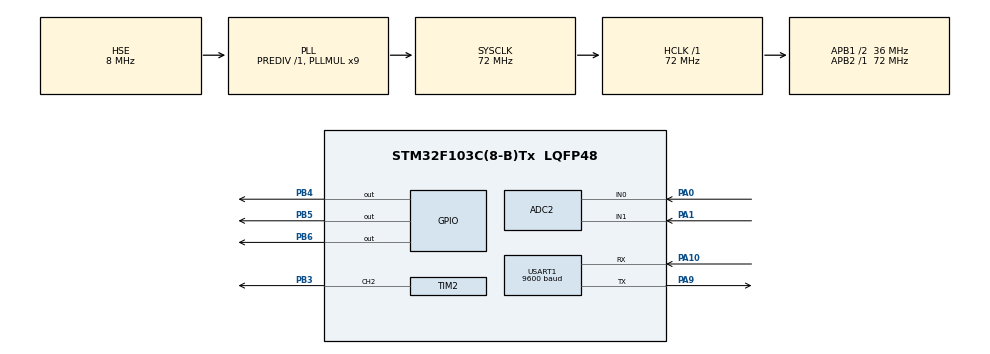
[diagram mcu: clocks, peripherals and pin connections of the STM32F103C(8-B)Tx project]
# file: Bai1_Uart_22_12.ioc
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ADC1.Channel-2\#ChannelRegularConversion=ADC_CHANNEL_VREFINT
ADC1.NbrOfConversionFlag=1
ADC1.Rank-2\#ChannelRegularConversion=1
ADC1.SamplingTime-2\#ChannelRegularConversion=ADC_SAMPLETIME_1CYCLE_5
ADC1.master=1
ADC2.Channel-0\#ChannelRegularConversion=ADC_CHANNEL_0
ADC2.Channel-1\#ChannelRegularConversion=ADC_CHANNEL_1
ADC2.ContinuousConvMode=ENABLE
ADC2.NbrOfConversion=2
ADC2.NbrOfConversionFlag=1
ADC2.Rank-0\#ChannelRegularConversion=1
ADC2.Rank-1\#ChannelRegularConversion=2
ADC2.SamplingTime-0\#ChannelRegularConversion=ADC_SAMPLETIME_239CYCLES_5
ADC2.SamplingTime-1\#ChannelRegularConversion=ADC_SAMPLETIME_239CYCLES_5
FREERTOS.Tasks01=Task1_TranVol,0,128,Voltage,Default,NULL,Dynamic,NULL,NULL;Task2_UART,-3,128,Tranfer_Receive,Default,NULL,Dynamic,NULL,NULL;Task3_Pluse,-3,128,Pluse100,Default,NULL,Dynamic,NULL,NULL
Mcu.Family=STM32F1
Mcu.Name=STM32F103C(8-B)Tx
Mcu.Package=LQFP48
NVIC.PriorityGroup=NVIC_PRIORITYGROUP_4
NVIC.TIM4_IRQn=true\:0\:0\:false\:false\:true\:false\:false\:true\:true
NVIC.TimeBase=TIM4_IRQn
NVIC.TimeBaseIP=TIM4
NVIC.USART1_IRQn=true\:5\:0\:true\:false\:true\:true\:true\:true\:true
PA0-WKUP.Signal=ADCx_IN0
PA1.Signal=ADCx_IN1
PA10.Mode=Asynchronous
PA10.Signal=USART1_RX
PA13.Mode=Serial_Wire
PA13.Signal=SYS_JTMS-SWDIO
PA14.Mode=Serial_Wire
PA14.Signal=SYS_JTCK-SWCLK
PA9.Mode=Asynchronous
PA9.Signal=USART1_TX
PB3.Signal=S_TIM2_CH2
PB4.Signal=GPIO_Output
PB5.Signal=GPIO_Output
PB6.Signal=GPIO_Output
PD0-OSC_IN.Mode=HSE-External-Oscillator
PD0-OSC_IN.Signal=RCC_OSC_IN
PD1-OSC_OUT.Mode=HSE-External-Oscillator
PD1-OSC_OUT.Signal=RCC_OSC_OUT
ProjectManager.HeapSize=0x200
ProjectManager.StackSize=0x400
ProjectManager.TargetToolchain=MDK-ARM V5.27
RCC.ADCPresc=RCC_ADCPCLK2_DIV6
RCC.AHBFreq_Value=72000000
RCC.APB1CLKDivider=RCC_HCLK_DIV2
RCC.APB1Freq_Value=36000000
RCC.APB1TimFreq_Value=72000000
RCC.APB2Freq_Value=72000000
RCC.APB2TimFreq_Value=72000000
RCC.HCLKFreq_Value=72000000
RCC.PLLMUL=RCC_PLL_MUL9
RCC.PLLSourceVirtual=RCC_PLLSOURCE_HSE
RCC.SYSCLKFreq_VALUE=72000000
RCC.SYSCLKSource=RCC_SYSCLKSOURCE_PLLCLK
RCC.USBFreq_Value=72000000
SH.ADCx_IN0.0=ADC2_IN0,IN0
SH.ADCx_IN1.0=ADC2_IN1,IN1
SH.S_TIM2_CH2.0=TIM2_CH2,PWM Generation2 CH2
TIM2.Channel-PWM\ Generation2\ CH2=TIM_CHANNEL_2
TIM2.OCMode_PWM-PWM\ Generation2\ CH2=TIM_OCMODE_PWM2
TIM2.OCPolarity_2=TIM_OCPOLARITY_HIGH
TIM2.Period=9999
TIM2.Prescaler=71
TIM3.Prescaler=71
USART1.BaudRate=9600
USART1.VirtualMode=VM_ASYNC
VP_ADC1_Vref_Input.Mode=IN-Vrefint
VP_FREERTOS_VS_CMSIS_V1.Mode=CMSIS_V1
VP_SYS_VS_tim4.Mode=TIM4
VP_TIM2_VS_ClockSourceINT.Mode=Internal
VP_TIM3_VS_ClockSourceINT.Mode=Internal
board=custom

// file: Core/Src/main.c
/* USER CODE BEGIN Header */
/**
  ******************************************************************************
  * @file           : main.c
  * @brief          : Main program body
  ******************************************************************************
  * @attention
  *
  * <h2><center>&copy; Copyright (c) 2022 STMicroelectronics.
  * All rights reserved.</center></h2>
  *
  * This software component is licensed by ST under BSD 3-Clause license,
  * the "License"; You may not use this file except in compliance with the
  * License. You may obtain a copy of the License at:
  *                        opensource.org/licenses/BSD-3-Clause
  *
  ******************************************************************************
  */
/* USER CODE END Header */
#include "main.h"
#include "cmsis_os.h"

/* USER CODE BEGIN Includes */
#include <stdio.h>
#include <stdlib.h>
#include <string.h>
#include "cJSON.h"

#include <delay_timer.h>
/* USER CODE END Includes */

/* USER CODE BEGIN PTD */
#define MAX 100
/* USER CODE END PTD */

ADC_HandleTypeDef hadc1;
ADC_HandleTypeDef hadc2;

TIM_HandleTypeDef htim2;
TIM_HandleTypeDef htim3;

UART_HandleTypeDef huart1;

osThreadId Task1_TranVolHandle;
osThreadId Task2_UARTHandle;
osThreadId Task3_PluseHandle;
/* USER CODE BEGIN PV */

/*************************KHAI BAO.Task1: Dieu khien dong co bang Relay****************************************/
typedef struct UART
{
	uint8_t Rx_data;
	uint8_t Rx_Buff[MAX];
	uint8_t Tx_Buff[MAX];
	uint16_t Flag;
	uint16_t index;
} UART;

UART uart1;
/*************************KHAI BAO.Task2: Doc gia tri ADC****************************************/
uint8_t V1_buff[MAX], V2_buff[MAX], Vref_buff[MAX];
float V[3];
float V1, V2, VDDA;

uint8_t PA0[MAX], PA1[MAX], Vref[MAX];
/*************************KHAI BAO.Test RTOS****************************************/
uint32_t cnt1 = 0, cnt2 = 0, cnt3 = 0;
/*****************************************************************************/

/*************************Khai bao ham****************************************/

void Pluse();
void uart_json();

/*****************************************************************************************************/
/* USER CODE END PV */

void SystemClock_Config(void);
static void MX_GPIO_Init(void);
static void MX_USART1_UART_Init(void);
static void MX_ADC1_Init(void);
static void MX_TIM2_Init(void);
static void MX_TIM3_Init(void);
static void MX_ADC2_Init(void);
void Voltage(void const * argument);
void Tranfer_Receive(void const * argument);
void Pluse100(void const * argument);

/* USER CODE BEGIN PFP */
/************************Printf UART******************************************/
#ifdef __GNUC__
#define PUTCHAR_PROTOTYPE int __io_putchar(int ch)
#else
#define PUTCHAR_PROTOTYPE int fputc(int ch, FILE *f)
#endif /* __GNUC__ */

/**
  * @brief  Retargets the C library printf function to the USART.
  * @param  None
  * @retval None
  */
PUTCHAR_PROTOTYPE
{
  HAL_UART_Transmit(&huart1, (uint8_t *)&ch, 1, HAL_MAX_DELAY);
  return ch;
}
/* USER CODE END PFP */

/* USER CODE BEGIN 0 */
/************************UART. NGAT NHAN******************************************/

void HAL_UART_RxCpltCallback(UART_HandleTypeDef *huart)
{
  if(huart->Instance == huart1.Instance)
	{
		if(uart1.Rx_data == '\n')
		{
			uart1.Flag = 1;
		}
		else
	  {
		  uart1.Rx_Buff[uart1.index++] = uart1.Rx_data;
	  }

		HAL_UART_Receive_IT(&huart1, &uart1.Rx_data, 1);
	}

}

void Trans_UART()
{
	if(uart1.Flag == 1)
 {
		if(strcmp((char *) uart1.Rx_Buff, "1") == 0)
		{
			printf("Relay 1 dong.\n");
			HAL_GPIO_WritePin(GPIOB, GPIO_PIN_4, GPIO_PIN_SET);
		}

		if(strcmp((char *) uart1.Rx_Buff, "2") == 0)
		{
			printf("Relay 2 dong.\n");
			HAL_GPIO_WritePin(GPIOB, GPIO_PIN_5, GPIO_PIN_SET);
		}

		if(strcmp((char *) uart1.Rx_Buff, "3") == 0)
		{
			printf("Relay 3 dong.\n");
			HAL_GPIO_WritePin(GPIOB, GPIO_PIN_6, GPIO_PIN_SET);
		}

		if(strcmp((char *) uart1.Rx_Buff, "a") == 0)
		{
			printf("Relay 1 cat.\n");
			HAL_GPIO_WritePin(GPIOB, GPIO_PIN_4, GPIO_PIN_RESET);
		}

		if(strcmp((char *) uart1.Rx_Buff, "b") == 0)
		{
			printf("Relay 2 cat.\n");
			HAL_GPIO_WritePin(GPIOB, GPIO_PIN_5, GPIO_PIN_RESET);
		}

		if(strcmp((char *) uart1.Rx_Buff, "c") == 0)
		{
			printf("Relay 3 cat.\n");
			HAL_GPIO_WritePin(GPIOB, GPIO_PIN_6, GPIO_PIN_RESET);
		}

		if(strcmp((char *) uart1.Rx_Buff, "0") == 0)
		{
			printf("Relay 3 cat.\n");
			HAL_GPIO_WritePin(GPIOB, GPIO_PIN_4, GPIO_PIN_RESET);
		  HAL_GPIO_WritePin(GPIOB, GPIO_PIN_5, GPIO_PIN_RESET);
		  HAL_GPIO_WritePin(GPIOB, GPIO_PIN_6, GPIO_PIN_RESET);
		}

		if(strcmp((char *) uart1.Rx_Buff, "DA") == 0)
		{
			printf("Gia tri dien ap la: \n");
			uart_json();
		}

		if(strcmp((char *) uart1.Rx_Buff, "p") == 0)
		{
			printf("Start\n");
		  Pluse();
		  printf("End\n");
		}

		memset(uart1.Rx_Buff, '\0', 100);
		uart1.index = 0;
		uart1.Flag = 0;
	}

}
/*************************ADC. CH0 AND CH1****************************************/
/**************ADC. SETUP CH0 AND CH1*****************************/
void ADC_Select_CH0 (void)
{
 ADC_ChannelConfTypeDef sConfig = {0};
 sConfig.Channel = ADC_CHANNEL_0;
 sConfig.Rank = ADC_REGULAR_RANK_1;
 sConfig.SamplingTime = ADC_SAMPLETIME_239CYCLES_5;
 if (HAL_ADC_ConfigChannel(&hadc2, &sConfig) != HAL_OK)
 {
   Error_Handler();
 }
}

void ADC_Select_CH1 (void)
{
 ADC_ChannelConfTypeDef sConfig = {0};
 sConfig.Channel = ADC_CHANNEL_1;
 sConfig.Rank = ADC_REGULAR_RANK_1;
 sConfig.SamplingTime = ADC_SAMPLETIME_239CYCLES_5;
 if (HAL_ADC_ConfigChannel(&hadc2, &sConfig) != HAL_OK)
 {
   Error_Handler();
 }
}
/**************ADC. READ VREF, CH0 AND CH1*****************************/
void ReadVol_Vref()
{
	HAL_ADC_Start(&hadc1);
	HAL_ADC_PollForConversion(&hadc1, 300);
	V[0] = HAL_ADC_GetValue(&hadc1);
  VDDA = 4095.0 * 1.212 / (float)V[0];
	HAL_ADC_Stop(&hadc1);

//	snprintf((char *) Vref_buff, 99, "Gia tri dien ap tai chan Vref: %.2f\n", VDDA);
	snprintf((char *) Vref_buff, 99, "%.2f", VDDA);
}

void ReadVol_PA0()
{
	ADC_Select_CH0();
	HAL_ADC_Start(&hadc2);
	HAL_ADC_PollForConversion(&hadc2, 300);
	V[1] = HAL_ADC_GetValue(&hadc2);
	HAL_ADC_Stop(&hadc2);
  V1 = V[1]*VDDA/4095;
	V1 = V1 *5/3.3;

//	snprintf((char *) V1_buff, 99, "Gia tri dien ap tai chan PA0(2.5 - 5V) la: %.2f\n", V1);
	snprintf((char *) V1_buff, 99, "%.2f", V1);

}

void ReadVol_PA1()
{
	ADC_Select_CH1();
	HAL_ADC_Start(&hadc2);
	HAL_ADC_PollForConversion(&hadc2, 300);
	V[2] = HAL_ADC_GetValue(&hadc2);
  V2 = V[2]*VDDA/4095;
	HAL_ADC_Stop(&hadc2);

	snprintf((char *) V2_buff, 99, "%.2f", V2);
}
/**************ADC. TRANSMIT CH0 AND CH1*****************************/
void TranVol_Vref()
{
	ReadVol_Vref();
	strcpy((char *)Vref,(char *)Vref_buff);
}

void TranVol_PA0()
{
	ReadVol_PA0();
	if(V1 < 3.0)
	{
		strcpy((char *)PA0, "Chan PA0 tha noi.");
	}
	else
	{
//	  HAL_UART_Transmit(&huart1, V1_buff, sizeof(V1_buff), 300);
		strcpy((char *)PA0,(char *)V1_buff);
	}
}

void TranVol_PA1()
{
	ReadVol_PA1();
	if(V2 < 2.5)
	{
		strcpy((char *)PA1, "Chan PA1 tha noi.");
	}
	else
	{
//	  HAL_UART_Transmit(&huart1, V2_buff, sizeof(V2_buff), 300);
		strcpy((char *)PA1,(char *)V2_buff);
	}
}
/**************ADC. UART_JSON*****************************/
void uart_json()
{
	TranVol_Vref();
	TranVol_PA0();
	TranVol_PA1();
	char *out;
	cJSON *root;
	root  = cJSON_CreateObject();

//	cJSON_AddItemToObject(root, "Vref", cJSON_CreateString((char *) Vref));
  cJSON_AddItemToObject(root, "PA0", cJSON_CreateString((char *) PA0));
  cJSON_AddItemToObject(root, "PA1", cJSON_CreateString((char *) PA1));

  out = cJSON_Print(root);
  printf("%s\n",out);

	free(out);
	cJSON_Delete(root);
}
/*************************PWM. 100 PLUSE****************************************/

void Pluse()
{
	 __HAL_TIM_SetCompare(&htim2, TIM_CHANNEL_2, 5000);
	Delayms(1000);

	 __HAL_TIM_SetCompare(&htim2, TIM_CHANNEL_2, 0);
}

/* USER CODE END 0 */

int main(void)
{

  /* MCU Configuration--------------------------------------------------------*/

  /* Reset of all peripherals, Initializes the Flash interface and the Systick. */
  HAL_Init();

  /* Configure the system clock */
  SystemClock_Config();

  /* Initialize all configured peripherals */
  MX_GPIO_Init();
  MX_USART1_UART_Init();
  MX_ADC1_Init();
  MX_TIM2_Init();
  MX_TIM3_Init();
  MX_ADC2_Init();
  /* USER CODE BEGIN 2 */
	strcpy((char *) uart1.Tx_Buff, "Bat dau!\n");
  HAL_UART_Transmit(&huart1, uart1.Tx_Buff, sizeof(uart1.Tx_Buff), 300);

	printf("Task1. Bat tat Relay!\n");
	printf("Task2. Doc gia tri dien ap ADC!\n");
	printf("Task3. Xuat ra 100 xung PWM!\n");

  HAL_UART_Receive_IT(&huart1, &uart1.Rx_data, 1);
	HAL_TIM_PWM_Start(&htim2,TIM_CHANNEL_1);

  /* USER CODE END 2 */

  /* Create the thread(s) */
  /* definition and creation of Task1_TranVol */
  osThreadDef(Task1_TranVol, Voltage, osPriorityNormal, 0, 128);
  Task1_TranVolHandle = osThreadCreate(osThread(Task1_TranVol), NULL);

  /* definition and creation of Task2_UART */
  osThreadDef(Task2_UART, Tranfer_Receive, osPriorityIdle, 0, 128);
  Task2_UARTHandle = osThreadCreate(osThread(Task2_UART), NULL);

  /* definition and creation of Task3_Pluse */
  osThreadDef(Task3_Pluse, Pluse100, osPriorityIdle, 0, 128);
  Task3_PluseHandle = osThreadCreate(osThread(Task3_Pluse), NULL);

  /* Start scheduler */
  osKernelStart();

  /* We should never get here as control is now taken by the scheduler */
  /* Infinite loop */
  while (1)
  {

  }
}

void SystemClock_Config(void)
{
  RCC_OscInitTypeDef RCC_OscInitStruct = {0};
  RCC_ClkInitTypeDef RCC_ClkInitStruct = {0};
  RCC_PeriphCLKInitTypeDef PeriphClkInit = {0};

  /** Initializes the RCC Oscillators according to the specified parameters
  * in the RCC_OscInitTypeDef structure.
  */
  RCC_OscInitStruct.OscillatorType = RCC_OSCILLATORTYPE_HSE;
  RCC_OscInitStruct.HSEState = RCC_HSE_ON;
  RCC_OscInitStruct.HSEPredivValue = RCC_HSE_PREDIV_DIV1;
  RCC_OscInitStruct.HSIState = RCC_HSI_ON;
  RCC_OscInitStruct.PLL.PLLState = RCC_PLL_ON;
  RCC_OscInitStruct.PLL.PLLSource = RCC_PLLSOURCE_HSE;
  RCC_OscInitStruct.PLL.PLLMUL = RCC_PLL_MUL9;
  if (HAL_RCC_OscConfig(&RCC_OscInitStruct) != HAL_OK)
  {
    Error_Handler();
  }
  /** Initializes the CPU, AHB and APB buses clocks
  */
  RCC_ClkInitStruct.ClockType = RCC_CLOCKTYPE_HCLK|RCC_CLOCKTYPE_SYSCLK
                              |RCC_CLOCKTYPE_PCLK1|RCC_CLOCKTYPE_PCLK2;
  RCC_ClkInitStruct.SYSCLKSource = RCC_SYSCLKSOURCE_PLLCLK;
  RCC_ClkInitStruct.AHBCLKDivider = RCC_SYSCLK_DIV1;
  RCC_ClkInitStruct.APB1CLKDivider = RCC_HCLK_DIV2;
  RCC_ClkInitStruct.APB2CLKDivider = RCC_HCLK_DIV1;

  if (HAL_RCC_ClockConfig(&RCC_ClkInitStruct, FLASH_LATENCY_2) != HAL_OK)
  {
    Error_Handler();
  }
  PeriphClkInit.PeriphClockSelection = RCC_PERIPHCLK_ADC;
  PeriphClkInit.AdcClockSelection = RCC_ADCPCLK2_DIV6;
  if (HAL_RCCEx_PeriphCLKConfig(&PeriphClkInit) != HAL_OK)
  {
    Error_Handler();
  }
}

static void MX_ADC1_Init(void)
{

  ADC_ChannelConfTypeDef sConfig = {0};

  /** Common config
  */
  hadc1.Instance = ADC1;
  hadc1.Init.ScanConvMode = ADC_SCAN_DISABLE;
  hadc1.Init.ContinuousConvMode = DISABLE;
  hadc1.Init.DiscontinuousConvMode = DISABLE;
  hadc1.Init.ExternalTrigConv = ADC_SOFTWARE_START;
  hadc1.Init.DataAlign = ADC_DATAALIGN_RIGHT;
  hadc1.Init.NbrOfConversion = 1;
  if (HAL_ADC_Init(&hadc1) != HAL_OK)
  {
    Error_Handler();
  }
  /** Configure Regular Channel
  */
  sConfig.Channel = ADC_CHANNEL_VREFINT;
  sConfig.Rank = ADC_REGULAR_RANK_1;
  sConfig.SamplingTime = ADC_SAMPLETIME_1CYCLE_5;
  if (HAL_ADC_ConfigChannel(&hadc1, &sConfig) != HAL_OK)
  {
    Error_Handler();
  }

}

static void MX_ADC2_Init(void)
{

  ADC_ChannelConfTypeDef sConfig = {0};

  /** Common config
  */
  hadc2.Instance = ADC2;
  hadc2.Init.ScanConvMode = ADC_SCAN_ENABLE;
  hadc2.Init.ContinuousConvMode = ENABLE;
  hadc2.Init.DiscontinuousConvMode = DISABLE;
  hadc2.Init.ExternalTrigConv = ADC_SOFTWARE_START;
  hadc2.Init.DataAlign = ADC_DATAALIGN_RIGHT;
  hadc2.Init.NbrOfConversion = 2;
  if (HAL_ADC_Init(&hadc2) != HAL_OK)
  {
    Error_Handler();
  }
  /** Configure Regular Channel
  */
  sConfig.Channel = ADC_CHANNEL_0;
  sConfig.Rank = ADC_REGULAR_RANK_1;
  sConfig.SamplingTime = ADC_SAMPLETIME_239CYCLES_5;
  if (HAL_ADC_ConfigChannel(&hadc2, &sConfig) != HAL_OK)
  {
    Error_Handler();
  }
  /** Configure Regular Channel
  */
  sConfig.Channel = ADC_CHANNEL_1;
  sConfig.Rank = ADC_REGULAR_RANK_2;
  if (HAL_ADC_ConfigChannel(&hadc2, &sConfig) != HAL_OK)
  {
    Error_Handler();
  }

}

static void MX_TIM2_Init(void)
{

  TIM_ClockConfigTypeDef sClockSourceConfig = {0};
  TIM_MasterConfigTypeDef sMasterConfig = {0};
  TIM_OC_InitTypeDef sConfigOC = {0};

  htim2.Instance = TIM2;
  htim2.Init.Prescaler = 71;
  htim2.Init.CounterMode = TIM_COUNTERMODE_UP;
  htim2.Init.Period = 9999;
  htim2.Init.ClockDivision = TIM_CLOCKDIVISION_DIV1;
  htim2.Init.AutoReloadPreload = TIM_AUTORELOAD_PRELOAD_DISABLE;
  if (HAL_TIM_Base_Init(&htim2) != HAL_OK)
  {
    Error_Handler();
  }
  sClockSourceConfig.ClockSource = TIM_CLOCKSOURCE_INTERNAL;
  if (HAL_TIM_ConfigClockSource(&htim2, &sClockSourceConfig) != HAL_OK)
  {
    Error_Handler();
  }
  if (HAL_TIM_PWM_Init(&htim2) != HAL_OK)
  {
    Error_Handler();
  }
  sMasterConfig.MasterOutputTrigger = TIM_TRGO_RESET;
  sMasterConfig.MasterSlaveMode = TIM_MASTERSLAVEMODE_DISABLE;
  if (HAL_TIMEx_MasterConfigSynchronization(&htim2, &sMasterConfig) != HAL_OK)
  {
    Error_Handler();
  }
  sConfigOC.OCMode = TIM_OCMODE_PWM2;
  sConfigOC.Pulse = 0;
  sConfigOC.OCPolarity = TIM_OCPOLARITY_HIGH;
  sConfigOC.OCFastMode = TIM_OCFAST_DISABLE;
  if (HAL_TIM_PWM_ConfigChannel(&htim2, &sConfigOC, TIM_CHANNEL_2) != HAL_OK)
  {
    Error_Handler();
  }
  HAL_TIM_MspPostInit(&htim2);

}

static void MX_TIM3_Init(void)
{

  TIM_ClockConfigTypeDef sClockSourceConfig = {0};
  TIM_MasterConfigTypeDef sMasterConfig = {0};

  htim3.Instance = TIM3;
  htim3.Init.Prescaler = 71;
  htim3.Init.CounterMode = TIM_COUNTERMODE_UP;
  htim3.Init.Period = 65535;
  htim3.Init.ClockDivision = TIM_CLOCKDIVISION_DIV1;
  htim3.Init.AutoReloadPreload = TIM_AUTORELOAD_PRELOAD_DISABLE;
  if (HAL_TIM_Base_Init(&htim3) != HAL_OK)
  {
    Error_Handler();
  }
  sClockSourceConfig.ClockSource = TIM_CLOCKSOURCE_INTERNAL;
  if (HAL_TIM_ConfigClockSource(&htim3, &sClockSourceConfig) != HAL_OK)
  {
    Error_Handler();
  }
  sMasterConfig.MasterOutputTrigger = TIM_TRGO_RESET;
  sMasterConfig.MasterSlaveMode = TIM_MASTERSLAVEMODE_DISABLE;
  if (HAL_TIMEx_MasterConfigSynchronization(&htim3, &sMasterConfig) != HAL_OK)
  {
    Error_Handler();
  }

}

static void MX_USART1_UART_Init(void)
{

  huart1.Instance = USART1;
  huart1.Init.BaudRate = 9600;
  huart1.Init.WordLength = UART_WORDLENGTH_8B;
  huart1.Init.StopBits = UART_STOPBITS_1;
  huart1.Init.Parity = UART_PARITY_NONE;
  huart1.Init.Mode = UART_MODE_TX_RX;
  huart1.Init.HwFlowCtl = UART_HWCONTROL_NONE;
  huart1.Init.OverSampling = UART_OVERSAMPLING_16;
  if (HAL_UART_Init(&huart1) != HAL_OK)
  {
    Error_Handler();
  }

}

static void MX_GPIO_Init(void)
{
  GPIO_InitTypeDef GPIO_InitStruct = {0};

  /* GPIO Ports Clock Enable */
  __HAL_RCC_GPIOD_CLK_ENABLE();
  __HAL_RCC_GPIOA_CLK_ENABLE();
  __HAL_RCC_GPIOB_CLK_ENABLE();

  /*Configure GPIO pin Output Level */
  HAL_GPIO_WritePin(GPIOB, GPIO_PIN_4|GPIO_PIN_5|GPIO_PIN_6, GPIO_PIN_RESET);

  /*Configure GPIO pins : PB4 PB5 PB6 */
  GPIO_InitStruct.Pin = GPIO_PIN_4|GPIO_PIN_5|GPIO_PIN_6;
  GPIO_InitStruct.Mode = GPIO_MODE_OUTPUT_PP;
  GPIO_InitStruct.Pull = GPIO_NOPULL;
  GPIO_InitStruct.Speed = GPIO_SPEED_FREQ_LOW;
  HAL_GPIO_Init(GPIOB, &GPIO_InitStruct);

}

void Voltage(void const * argument)
{
  /* USER CODE BEGIN 5 */
  /* Infinite loop */
  for(;;)
  {
//		TranVol_Vref();
//		TranVol_PA0();
//		TranVol_PA1();
//    Delayms(5000);
		Trans_UART();
		cnt1++;
		osDelay(1);
  }
  /* USER CODE END 5 */
}

void Tranfer_Receive(void const * argument)
{
  /* USER CODE BEGIN Tranfer_Receive */
  /* Infinite loop */
  for(;;)
  {
		Trans_UART();
		cnt2++;
		osDelay(1);
  }
  /* USER CODE END Tranfer_Receive */
}

void Pluse100(void const * argument)
{
  /* USER CODE BEGIN Pluse100 */
  /* Infinite loop */
  for(;;)
  {
		Trans_UART();
		cnt3++;
		osDelay(1);

  }
  /* USER CODE END Pluse100 */
}

 /**
  * @brief  Period elapsed callback in non blocking mode
  * @note   This function is called  when TIM4 interrupt took place, inside
  * HAL_TIM_IRQHandler(). It makes a direct call to HAL_IncTick() to increment
  * a global variable "uwTick" used as application time base.
  * @param  htim : TIM handle
  * @retval None
  */
void HAL_TIM_PeriodElapsedCallback(TIM_HandleTypeDef *htim)
{
  if (htim->Instance == TIM4) {
    HAL_IncTick();
  }
}

void Error_Handler(void)
{
  __disable_irq();
  while (1)
  {
  }
}

/************************ (C) COPYRIGHT STMicroelectronics *****END OF FILE****/
